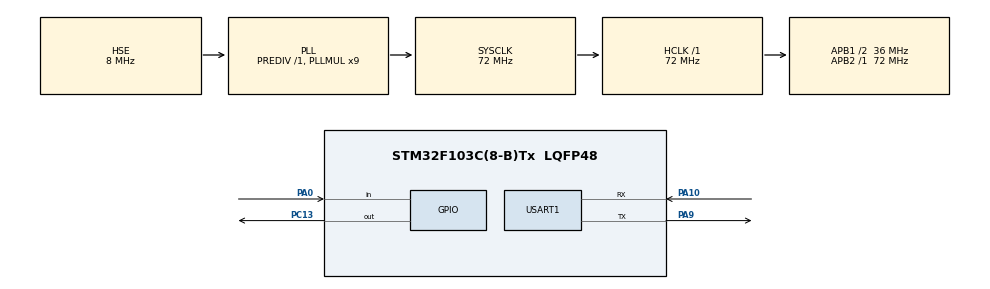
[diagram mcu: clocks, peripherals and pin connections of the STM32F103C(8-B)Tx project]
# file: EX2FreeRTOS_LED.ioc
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Mcu.Family=STM32F1
Mcu.Name=STM32F103C(8-B)Tx
Mcu.Package=LQFP48
NVIC.PriorityGroup=NVIC_PRIORITYGROUP_4
NVIC.USART1_IRQn=true\:5\:0\:true\:false\:true\:true\:true\:true
PA0-WKUP.GPIO_PuPd=GPIO_NOPULL
PA0-WKUP.Signal=GPIO_Input
PA10.Mode=Asynchronous
PA10.Signal=USART1_RX
PA13.Mode=Serial_Wire
PA13.Signal=SYS_JTMS-SWDIO
PA14.Mode=Serial_Wire
PA14.Signal=SYS_JTCK-SWCLK
PA9.Mode=Asynchronous
PA9.Signal=USART1_TX
PC13-TAMPER-RTC.Signal=GPIO_Output
PD0-OSC_IN.Mode=HSE-External-Oscillator
PD0-OSC_IN.Signal=RCC_OSC_IN
PD1-OSC_OUT.Mode=HSE-External-Oscillator
PD1-OSC_OUT.Signal=RCC_OSC_OUT
ProjectManager.HeapSize=0x200
ProjectManager.StackSize=0x400
ProjectManager.TargetToolchain=STM32CubeIDE
RCC.AHBFreq_Value=72000000
RCC.APB1CLKDivider=RCC_HCLK_DIV2
RCC.APB1Freq_Value=36000000
RCC.APB1TimFreq_Value=72000000
RCC.APB2Freq_Value=72000000
RCC.APB2TimFreq_Value=72000000
RCC.HCLKFreq_Value=72000000
RCC.PLLMUL=RCC_PLL_MUL9
RCC.PLLSourceVirtual=RCC_PLLSOURCE_HSE
RCC.SYSCLKFreq_VALUE=72000000
RCC.SYSCLKSource=RCC_SYSCLKSOURCE_PLLCLK
RCC.USBFreq_Value=72000000
USART1.VirtualMode=VM_ASYNC
board=custom

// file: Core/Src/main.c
/* USER CODE BEGIN Header */
/**
  ******************************************************************************
  * @file           : main.c
  * @brief          : Main program body
  ******************************************************************************
  * @attention
  *
  * Copyright (c) 2024 STMicroelectronics.
  * All rights reserved.
  *
  * This software is licensed under terms that can be found in the LICENSE file
  * in the root directory of this software component.
  * If no LICENSE file comes with this software, it is provided AS-IS.
  *
  ******************************************************************************
  */
/* USER CODE END Header */
#include "main.h"

/* USER CODE BEGIN PTD */
typedef enum {LED_ON,LED_OFF,LED_TOGGLE} status_led_t;
/* USER CODE END PTD */

/* USER CODE BEGIN PD */
#define PRESSED 1
#define RELEASED 0
#define BUFFER_SIZE_RX 12
#define uxQueueLength 10
static void LED_Task(void *pvParameters);
static void Switch_Task(void *pvParameters);
static void UART_Task(void *pvParameters);

/* USER CODE END PD */

UART_HandleTypeDef huart1;

/* USER CODE BEGIN PV */
TaskHandle_t LED_Task_Handle;
TaskHandle_t UART_Task_Handle;
TaskHandle_t Switch_Task_Handle;
SemaphoreHandle_t UART_Semaphore = NULL;
xQueueHandle Queue_LED;
uint8_t rxBuffer[BUFFER_SIZE_RX];
/* USER CODE END PV */

void SystemClock_Config(void);
static void MX_GPIO_Init(void);
static void MX_USART1_UART_Init(void);

/* USER CODE BEGIN 0 */
static void LED_Task(void *pvParameters)
{
	status_led_t status_led;
	BaseType_t ret;
	for(;;)
	{
		ret = xQueueReceive(Queue_LED,&status_led,5000);
			if(ret == pdTRUE)
			{
				if(status_led == LED_ON)
				{
					HAL_GPIO_WritePin(GPIOC, GPIO_PIN_13, GPIO_PIN_SET);
					//HAL_UART_Transmit(&huart1, txBuffer, sizeof(txBuffer), 1000);
				}
				else if(status_led == LED_OFF)
				{
					HAL_GPIO_WritePin(GPIOC,GPIO_PIN_13, GPIO_PIN_RESET);
				}
				else if(status_led == LED_TOGGLE)
				{
					HAL_GPIO_TogglePin(GPIOC, GPIO_PIN_13);
				}
			}
	}
}
uint32_t read_button()
{
	if(HAL_GPIO_ReadPin(GPIOA, GPIO_PIN_0)) return PRESSED;
	else
		return RELEASED;

}
static void Switch_Task(void *pvParameters)
{
	uint32_t pre_state = read_button();
	uint32_t current_state;
	status_led_t status_led;
	BaseType_t ret;
	for(;;)
	{
		current_state = read_button();
		if(current_state != pre_state)
		{
			pre_state = current_state;
			if(current_state == PRESSED)
			{
				status_led = LED_ON;
			}
			else if(current_state == RELEASED)
			{
				status_led = LED_OFF;
			}
			ret = xQueueSend(Queue_LED,&status_led,100);
		}
		vTaskDelay(10);
	}
}
void HAL_UART_RxCpltCallback(UART_HandleTypeDef *huart){
	if(huart->Instance == USART1)
	{
		xSemaphoreGiveFromISR(UART_Semaphore,(TickType_t)0);
		HAL_UART_Receive_IT(&huart1, rxBuffer, sizeof(rxBuffer));

	}

}
void UART_Task(void *pvParameters)
{
	status_led_t status_led;
	BaseType_t ret;
	for(;;)
	{
		if(xSemaphoreTake(UART_Semaphore,5000) == pdTRUE)
		{
			if(rxBuffer[1] == 'N')
			{
				status_led = LED_ON;
			}
			else if(rxBuffer[1]== 'F')
			{
				status_led = LED_OFF;
			}
			else if(rxBuffer[1]=='O')
			{
				status_led = LED_TOGGLE;
			}
			ret = xQueueSend(Queue_LED,&status_led,100);
		}
		vTaskDelay(10);
	}
}
/* USER CODE END 0 */

int main(void)
{

  /* MCU Configuration--------------------------------------------------------*/

  /* Reset of all peripherals, Initializes the Flash interface and the Systick. */
  HAL_Init();

  /* Configure the system clock */
  SystemClock_Config();

  /* Initialize all configured peripherals */
  MX_GPIO_Init();
  MX_USART1_UART_Init();
  /* USER CODE BEGIN 2 */
  HAL_UART_Receive_IT(&huart1, rxBuffer, sizeof(rxBuffer));
  Queue_LED = xQueueCreate(uxQueueLength,sizeof(status_led_t));
  xTaskCreate(LED_Task,"LED_Task", configMINIMAL_STACK_SIZE, NULL,2, &LED_Task_Handle);
  xTaskCreate(Switch_Task,"Switch_Task", configMINIMAL_STACK_SIZE, NULL,2, &Switch_Task_Handle);
  xTaskCreate(UART_Task,"UART_Task", configMINIMAL_STACK_SIZE, NULL, 2, &UART_Task_Handle);
  /* USER CODE END 2 */

  /* Infinite loop */
  /* USER CODE BEGIN WHILE */
  vTaskStartScheduler();
  while (1)
  {
    /* USER CODE END WHILE */

  }
}

void SystemClock_Config(void)
{
  RCC_OscInitTypeDef RCC_OscInitStruct = {0};
  RCC_ClkInitTypeDef RCC_ClkInitStruct = {0};

  /** Initializes the RCC Oscillators according to the specified parameters
  * in the RCC_OscInitTypeDef structure.
  */
  RCC_OscInitStruct.OscillatorType = RCC_OSCILLATORTYPE_HSE;
  RCC_OscInitStruct.HSEState = RCC_HSE_ON;
  RCC_OscInitStruct.HSEPredivValue = RCC_HSE_PREDIV_DIV1;
  RCC_OscInitStruct.HSIState = RCC_HSI_ON;
  RCC_OscInitStruct.PLL.PLLState = RCC_PLL_ON;
  RCC_OscInitStruct.PLL.PLLSource = RCC_PLLSOURCE_HSE;
  RCC_OscInitStruct.PLL.PLLMUL = RCC_PLL_MUL9;
  if (HAL_RCC_OscConfig(&RCC_OscInitStruct) != HAL_OK)
  {
    Error_Handler();
  }

  /** Initializes the CPU, AHB and APB buses clocks
  */
  RCC_ClkInitStruct.ClockType = RCC_CLOCKTYPE_HCLK|RCC_CLOCKTYPE_SYSCLK
                              |RCC_CLOCKTYPE_PCLK1|RCC_CLOCKTYPE_PCLK2;
  RCC_ClkInitStruct.SYSCLKSource = RCC_SYSCLKSOURCE_PLLCLK;
  RCC_ClkInitStruct.AHBCLKDivider = RCC_SYSCLK_DIV1;
  RCC_ClkInitStruct.APB1CLKDivider = RCC_HCLK_DIV2;
  RCC_ClkInitStruct.APB2CLKDivider = RCC_HCLK_DIV1;

  if (HAL_RCC_ClockConfig(&RCC_ClkInitStruct, FLASH_LATENCY_2) != HAL_OK)
  {
    Error_Handler();
  }
}

static void MX_USART1_UART_Init(void)
{

  huart1.Instance = USART1;
  huart1.Init.BaudRate = 115200;
  huart1.Init.WordLength = UART_WORDLENGTH_8B;
  huart1.Init.StopBits = UART_STOPBITS_1;
  huart1.Init.Parity = UART_PARITY_NONE;
  huart1.Init.Mode = UART_MODE_TX_RX;
  huart1.Init.HwFlowCtl = UART_HWCONTROL_NONE;
  huart1.Init.OverSampling = UART_OVERSAMPLING_16;
  if (HAL_UART_Init(&huart1) != HAL_OK)
  {
    Error_Handler();
  }

}

static void MX_GPIO_Init(void)
{
  GPIO_InitTypeDef GPIO_InitStruct = {0};

  /* GPIO Ports Clock Enable */
  __HAL_RCC_GPIOC_CLK_ENABLE();
  __HAL_RCC_GPIOD_CLK_ENABLE();
  __HAL_RCC_GPIOA_CLK_ENABLE();

  /*Configure GPIO pin Output Level */
  HAL_GPIO_WritePin(GPIOC, GPIO_PIN_13, GPIO_PIN_RESET);

  /*Configure GPIO pin : PC13 */
  GPIO_InitStruct.Pin = GPIO_PIN_13;
  GPIO_InitStruct.Mode = GPIO_MODE_OUTPUT_PP;
  GPIO_InitStruct.Pull = GPIO_NOPULL;
  GPIO_InitStruct.Speed = GPIO_SPEED_FREQ_LOW;
  HAL_GPIO_Init(GPIOC, &GPIO_InitStruct);

  /*Configure GPIO pin : PA0 */
  GPIO_InitStruct.Pin = GPIO_PIN_0;
  GPIO_InitStruct.Mode = GPIO_MODE_INPUT;
  GPIO_InitStruct.Pull = GPIO_NOPULL;
  HAL_GPIO_Init(GPIOA, &GPIO_InitStruct);

}

void Error_Handler(void)
{
  __disable_irq();
  while (1)
  {
  }
}
